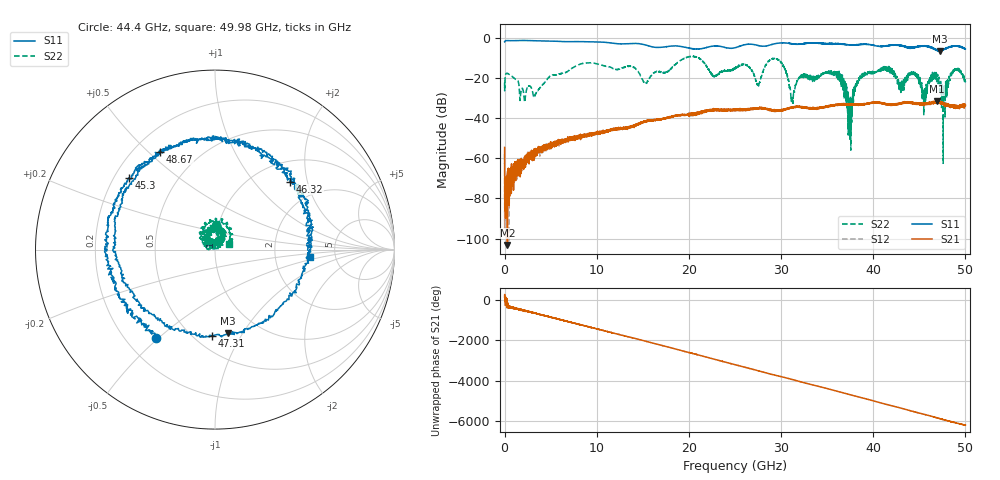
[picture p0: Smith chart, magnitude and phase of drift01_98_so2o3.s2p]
!Created with skrf (http://scikit-rf.org).
# Hz S RI R 50.0
!freq ReS11 ImS11 ReS21 ImS21 ReS12 ImS12 ReS22 ImS22
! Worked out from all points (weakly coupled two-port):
!   10001 points, 300 kHz to 50 GHz, reference 50 ohm
!   highest |S21| = -31.61 dB at 46.9 GHz (marker M1); lowest = -103.2 dB at 305.3 MHz (marker M2)
!   lowest |S11| = -6.6 dB at 47.24 GHz (marker M3), VSWR 2.77, Z = 36.3 - j43.2 ohm
!   |S11| at or under -10 dB: nowhere
!   |S22| runs from -62.5 to -9.2 dB; largest |S21 - S12| = 0.0046
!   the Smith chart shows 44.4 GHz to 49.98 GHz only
!   S11 on the Smith chart (normalised r, x): 44.4 GHz: 0.32, -0.49; 45.3 GHz: 0.26, +0.34; 46.32 GHz: 1.41, +1.57; 47.31 GHz: 0.61, -0.76; 48.67 GHz: 0.30, +0.54; 49.98 GHz: 3.23, -0.36
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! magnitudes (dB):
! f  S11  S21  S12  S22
! 300 kHz  -2.1  -54.6  -57.9  -22.3
! 305.3 MHz  -1.4  -103.2  -72.2  -17.7
! 3.29 GHz  -1.5  -58.5  -56.6  -28.8
! 8.335 GHz  -1.9  -49.1  -48.7  -12.9
! 16.67 GHz  -4.8  -40.9  -41.0  -16.7
! 25 GHz  -5.0  -36.2  -36.1  -15.4
! 29.59 GHz  -2.7  -36.3  -36.2  -10.6
! 31.24 GHz  -3.0  -34.5  -34.7  -32.0
! 33.34 GHz  -2.6  -35.3  -35.3  -20.1
! 36.08 GHz  -2.9  -33.2  -33.5  -17.7
! 37.47 GHz  -3.6  -32.9  -33.1  -37.0
! 38.65 GHz  -3.3  -33.3  -33.3  -20.3
! 41.67 GHz  -3.8  -33.1  -33.2  -15.2
! 44.4 GHz  -4.6  -32.6  -32.4  -17.4
! 45.3 GHz  -4.1  -33.2  -32.7  -27.0
! 46.32 GHz  -5.0  -32.8  -32.3  -20.6
! 46.9 GHz  -6.0  -31.6  -32.2  -21.0
! 47.24 GHz  -6.6  -32.4  -31.9  -25.8
! 47.31 GHz  -6.4  -31.8  -32.6  -21.2
! 48.67 GHz  -4.1  -34.3  -34.1  -16.8
! 49.98 GHz  -5.5  -33.6  -33.1  -21.4
! 50 GHz  -5.6  -33.5  -34.1  -21.7
